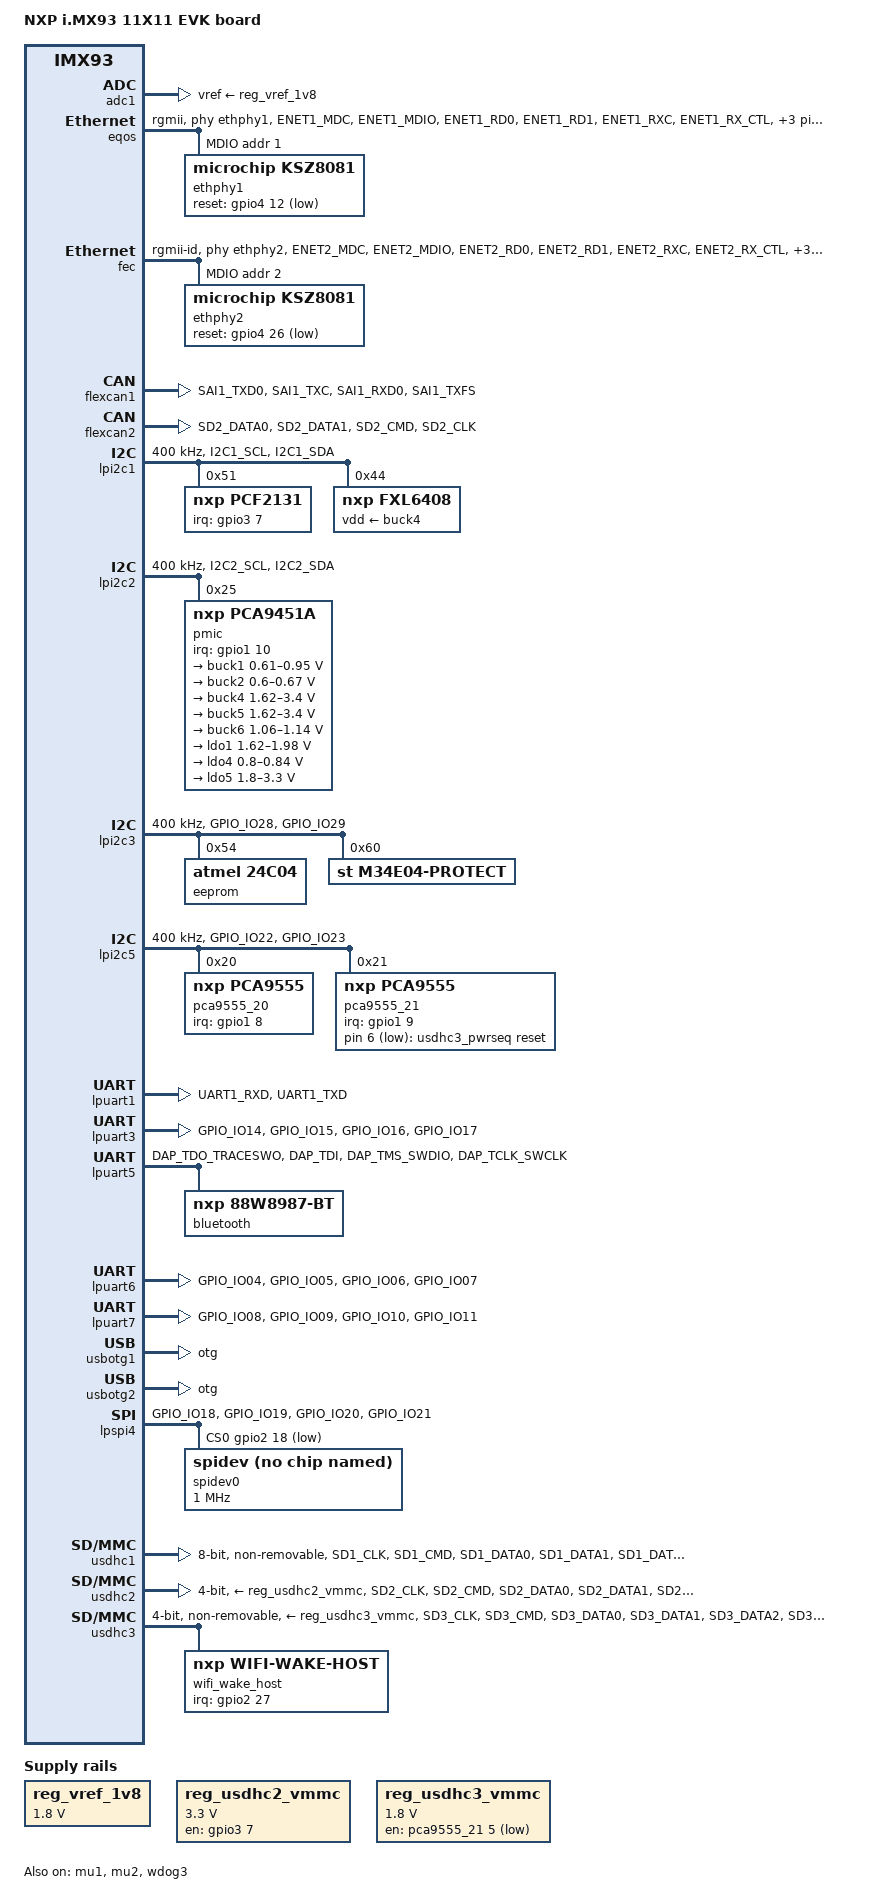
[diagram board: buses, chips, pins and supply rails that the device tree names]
// SPDX-License-Identifier: (GPL-2.0+ OR MIT)
/*
 * Copyright 2025 Future Electronics
 */

/dts-v1/;

#include <dt-bindings/usb/pd.h>
#include "imx93.dtsi"

/ {
	model = "NXP i.MX93 11X11 EVK board";
	compatible = "fsl,imx93-11x11-evk", "fsl,imx93";

	chosen {
		stdout-path = &lpuart1;
	};

	reserved-memory {
		#address-cells = <2>;
		#size-cells = <2>;
		ranges;

		linux,cma {
			compatible = "shared-dma-pool";
			reusable;
			alloc-ranges = <0 0x80000000 0 0x40000000>;
			size = <0 0x10000000>;
			linux,cma-default;
		};

		ethosu_mem: ethosu_region@C0000000 {
			compatible = "shared-dma-pool";
			reusable;
			reg = <0x0 0xC0000000 0x0 0x10000000>;
		};		

		vdev0vring0: vdev0vring0@a4000000 {
			reg = <0 0xa4000000 0 0x8000>;
			no-map;
		};

		vdev0vring1: vdev0vring1@a4008000 {
			reg = <0 0xa4008000 0 0x8000>;
			no-map;
		};

		vdev1vring0: vdev1vring0@a4010000 {
			reg = <0 0xa4010000 0 0x8000>;
			no-map;
		};

		vdev1vring1: vdev1vring1@a4018000 {
			reg = <0 0xa4018000 0 0x8000>;
			no-map;
		};

		rsc_table: rsc-table@2021e000 {
			reg = <0 0x2021e000 0 0x1000>;
			no-map;
		};

		vdevbuffer: vdevbuffer@a4020000 {
			compatible = "shared-dma-pool";
			reg = <0 0xa4020000 0 0x100000>;
			no-map;
		};

	};

	reg_vref_1v8: regulator-adc-vref {
		compatible = "regulator-fixed";
		regulator-name = "vref_1v8";
		regulator-min-microvolt = <1800000>;
		regulator-max-microvolt = <1800000>;
	};

	reg_usdhc2_vmmc: regulator-usdhc2 {
		compatible = "regulator-fixed";
		pinctrl-names = "default";
		pinctrl-0 = <&pinctrl_reg_usdhc2_vmmc>;
		regulator-name = "VSD_3V3";
		regulator-min-microvolt = <3300000>;
		regulator-max-microvolt = <3300000>;
		gpio = <&gpio3 7 GPIO_ACTIVE_HIGH>;
		off-on-delay-us = <12000>;
		enable-active-high;
	};

	reg_usdhc3_vmmc: regulator-usdhc3 {
		compatible = "regulator-fixed";
		regulator-name = "WLAN_EN";
		regulator-min-microvolt = <1800000>;
		regulator-max-microvolt = <1800000>;
		//gpio = <&gpio2 13 GPIO_ACTIVE_LOW>;				//CPU(GPIO2_13) = WF_nPD_1V8
		gpio = <&pca9555_21 5 GPIO_ACTIVE_LOW>;			//IO_Exp(P0_5) = WF_nEN_1V8
		enable-active-low;
	};

	usdhc3_pwrseq: usdhc3_pwrseq {
		compatible = "mmc-pwrseq-simple";
		reset-gpios = <&pca9555_21 6 GPIO_ACTIVE_LOW>;		//IO_Exp(P0_6) = WF_nRST_1V8
	};

	cm33: remoteproc-cm33 {
		compatible = "fsl,imx93-cm33";
		clocks = <&clk IMX93_CLK_CM33_GATE>;
		status = "disabled";
	};

	ethosu {
		compatible = "arm,ethosu";							// Arm Ethos-U NPU Linked to Cortex-M33
		fsl,cm33-proc = <&cm33>;
		memory-region = <&ethosu_mem>;
		power-domains = <&mlmix>;
	};

	backlight_lvds: backlight-lvds {
		compatible = "pwm-backlight";
		pwms = <&fxl6408 0 100000 0>;
		brightness-levels = <0 100>;
		num-interpolated-steps = <100>;
		default-brightness-level = <100>;
		enable-gpios = <&fxl6408 5 GPIO_ACTIVE_HIGH>;
		status = "disabled";
	};
};

&adc1 {
	vref-supply = <&reg_vref_1v8>;
	status = "okay";
};

&cm33 {
	mbox-names = "tx", "rx", "rxdb";
	mboxes = <&mu1 0 1>,
		 <&mu1 1 1>,
		 <&mu1 3 1>;
	memory-region = <&vdevbuffer>, <&vdev0vring0>, <&vdev0vring1>,
			<&vdev1vring0>, <&vdev1vring1>, <&rsc_table>;
	status = "okay";
};

&mu1 {
	status = "okay";
};

&mu2 {
	status = "okay";
};

&eqos {
	pinctrl-names = "default", "sleep";
	pinctrl-0 = <&pinctrl_eqos>;
	pinctrl-1 = <&pinctrl_eqos_sleep>;
	phy-mode = "rgmii";
	phy-handle = <&ethphy1>;
	status = "okay";
	mdio {
		compatible = "snps,dwmac-mdio";
		#address-cells = <1>;
		#size-cells = <0>;
		/*clock-frequency = <5000000>;						No need for 'clock-frequency'; PHY provides 50 MHz REF_CLK to SoC via RMII*/
		ethphy1: ethernet-phy@1 {
			compatible = "microchip,ksz8081";
			reg = <1>;										//Strapping 15 --> PHYAD[0] pull-down
			reset-gpios = <&gpio4 12 GPIO_ACTIVE_LOW>;		//Reset controlled by SoC GPIO4_IO12
			reset-assert-us = <10000>;
			reset-deassert-us = <80000>;
		};
	};
};

&fec {
	pinctrl-names = "default", "sleep";
	pinctrl-0 = <&pinctrl_fec>;
	pinctrl-1 = <&pinctrl_fec_sleep>;
	phy-mode = "rgmii-id";
	phy-handle = <&ethphy2>;
	fsl,magic-packet;
	status = "okay";
	mdio {
		#address-cells = <1>;
		#size-cells = <0>;
		/*clock-frequency = <5000000>;						// No need for 'clock-frequency'; PHY provides 50 MHz REF_CLK to SoC via RMII*/
		ethphy2: ethernet-phy@2 {
		compatible = "microchip,ksz8081";
			reg = <2>;										//Strapping 15 --> PHYAD[0] pull-up
			reset-gpios = <&gpio4 26 GPIO_ACTIVE_LOW>;		//Reset controlled by SoC GPIO4_IO26
			reset-assert-us = <10000>;
			reset-deassert-us = <80000>;
		};
	};
};

&flexcan1 {
	pinctrl-names = "default";
	pinctrl-0 = <&pinctrl_flexcan1>;
	status = "okay";
	/*standby-gpios = <&gpio1 14 GPIO_ACTIVE_HIGH>;		CAN1_STBY
	eol-gpios = <&gpio1 11 GPIO_ACTIVE_HIGH>;			CAN1_EOL*/
};

&flexcan2 {
	pinctrl-names = "default";
	pinctrl-0 = <&pinctrl_flexcan2>;
	status = "okay";
	/*standby-gpios = <&gpio3 2 GPIO_ACTIVE_HIGH>;		CAN2_STBY
	eol-gpios = <&gpio3 1 GPIO_ACTIVE_HIGH>;			CAN2_EOL*/
};

&lpi2c1 {
	clock-frequency = <400000>;
	pinctrl-names = "default";
	pinctrl-0 = <&pinctrl_lpi2c1>;
	status = "okay";

	/*RTC --> PCF2131TFY*/
	pcf2131: pcf2131@51 {
		compatible = "nxp,pcf2131";
		reg = <0x51>;							//I2C Address (7bit) 0x51 expander --> 0xa3 (8bit)
		status = "okay";
		interrupt-parent = <&gpio3>;
		interrupts = <7 IRQ_TYPE_EDGE_FALLING>;	//GPIO3_IO07 --> CP
	};

	/*Io Expander --> FXL6408UMX*/
	fxl6408: io-expander@44 {
		compatible = "nxp,fxl6408";
		reg = <0x44>;							//I2C Address (7bit) 0x44 expander
		vdd-supply = <&buck4>;					//buck4 --> 3v3
		#gpio-cells = <2>;
		gpio-controller;
		ngpios = <8>;							//PCA9555 have 8 GPIOs
		gpio-reserved-ranges = <5 1>;			//Reserv DSP_CTRL_3V3 always
		#pwm-cells = <3>;
		gpio-line-names = "LED1_nEN", "LED2_nEN", "LED3_nEN", "LED4_nEN",
			"DSP_EN_3V3", "DSP_CTRL_3V3", "NC", "NC";
	};
};

&lpi2c2 {
	clock-frequency = <400000>;
	pinctrl-names = "default";
	pinctrl-0 = <&pinctrl_lpi2c2>;
	status = "okay";

	/*PMIC --> PCA9451AHNY*/
	pmic@25 {
		compatible = "nxp,pca9451a";
		reg = <0x25>;
		pinctrl-names = "default";
		pinctrl-0 = <&pinctrl_pmic>;
		interrupt-parent = <&gpio1>;
		interrupts = <10 IRQ_TYPE_EDGE_FALLING>;	//PMIC INT on GPIO1_IO10
		regulators {
			buck1: BUCK1 {
				regulator-name = "BUCK1";
				regulator-min-microvolt = <610000>;
				regulator-max-microvolt = <950000>;
				regulator-boot-on;
				regulator-always-on;
				regulator-ramp-delay = <3125>;
			};

			buck2: BUCK2 {
				regulator-name = "BUCK2";
				regulator-min-microvolt = <600000>;
				regulator-max-microvolt = <670000>;
				regulator-boot-on;
				regulator-always-on;
				regulator-ramp-delay = <3125>;
			};

			buck4: BUCK4{
				regulator-name = "BUCK4";
				regulator-min-microvolt = <1620000>;
				regulator-max-microvolt = <3400000>;
				regulator-boot-on;
				regulator-always-on;
			};

			buck5: BUCK5{
				regulator-name = "BUCK5";
				regulator-min-microvolt = <1620000>;
				regulator-max-microvolt = <3400000>;
				regulator-boot-on;
				regulator-always-on;
			};

			buck6: BUCK6 {
				regulator-name = "BUCK6";
				regulator-min-microvolt = <1060000>;
				regulator-max-microvolt = <1140000>;
				regulator-boot-on;
				regulator-always-on;
			};

			ldo1: LDO1 {
				regulator-name = "LDO1";
				regulator-min-microvolt = <1620000>;
				regulator-max-microvolt = <1980000>;
				regulator-boot-on;
				regulator-always-on;
			};

			ldo4: LDO4 {
				regulator-name = "LDO4";
				regulator-min-microvolt = <800000>;
				regulator-max-microvolt = <840000>;
				regulator-boot-on;
				regulator-always-on;
			};

			ldo5: LDO5 {
				regulator-name = "LDO5";
				regulator-min-microvolt = <1800000>;
				regulator-max-microvolt = <3300000>;
				regulator-boot-on;
				regulator-always-on;
			};
		};
	};
};

&lpi2c3 {
	clock-frequency = <400000>;
	pinctrl-names = "default";
	pinctrl-0 = <&pinctrl_lpi2c3>;
	status = "okay";

	/*Eeprom --> M34E04-FMC9TG*/
	eeprom@54 {
		compatible = "atmel,24c04", "st,m34e04";
		reg = <0x54>;		//I2C Address --> 0xA8 (8 bits) = 0x54 (7 bits)
		pagesize = <16>;
		size = <512>;
	};

	m34e04-protect@60 {
		compatible = "st,m34e04-protect";
		reg = <0x60>;		// Protection --> 0x60 (7 bits)
	};
};

&lpi2c5 {
	clock-frequency = <400000>;
	pinctrl-names = "default";
	pinctrl-0 = <&pinctrl_lpi2c5>;
	status = "okay";

	/*Io Expander --> PCA9555AHF,128*/
	pca9555_20: gpio@20 {
		compatible = "nxp,pca9555";
		reg = <0x20>;							//I2C Address (7bit) 0x20 expander
		pinctrl-names = "default";
		pinctrl-0 = <&pinctrl_pca9555_20>;
		gpio-controller;
		#gpio-cells = <2>;
		interrupt-parent = <&gpio1>;
		interrupts = <8 IRQ_TYPE_LEVEL_LOW>;	//Io Expander INT on GPIO1_IO08
		gpio-line-names = "CONA_EN", "CONB_EN",
			"DIGITAL_IN0", "DIGITAL_IN1","DIGITAL_IN2", "DIGITAL_IN3",
			"OUT0_EN", "OUT1_EN", "OUT2_EN", "OUT3_EN";
	};

	/*Io Expander --> PCA9555AHF,128*/
	pca9555_21: gpio@21 {
		compatible = "nxp,pca9555";
		reg = <0x21>;							//I2C Address (7bit) 0x21 expander
		pinctrl-names = "default";
		pinctrl-0 = <&pinctrl_pca9555_21>;
		#gpio-cells = <2>;
		gpio-controller;
		interrupt-parent = <&gpio1>;
		interrupts = <9 IRQ_TYPE_LEVEL_LOW>;	//Io Expander INT on GPIO1_IO09
		gpio-line-names = "EXP_IO1", "EXP_IO2",
			"EXP_IO3", "EXP_IO4", "EXP_PWR_EN",
			"WF_nEN_1V8", "WF_nRST_1V8", "BT_nRST_1V8",
			"GNSS_LNA_EN1", "LTE_ON_OFF_1V8",
			"NC", "NC", "NC", "NC", "NC", "NC";
	};
};

&lpuart1 {
	/* Console */
	pinctrl-names = "default";
	pinctrl-0 = <&pinctrl_uart1>;
	status = "okay";
};

&lpuart3 {
	/* LTE */
	pinctrl-0 = <&pinctrl_uart3>;
	pinctrl-names = "default";
	status = "okay";
};

&lpuart5 {
	/* BT */
	pinctrl-names = "default";
	pinctrl-0 = <&pinctrl_uart5>;
	status = "okay";
	bluetooth {
		compatible = "nxp,88w8987-bt";
	};
};

&lpuart6 {
	/* RS232/RS485 */
	pinctrl-0 = <&pinctrl_uart6>;
	pinctrl-names = "default";
	status = "okay";
	/*RS485*/
	fsl,uart-has-rtscts;
	rs485-rts-gpio = <&gpio3 5 GPIO_ACTIVE_HIGH>;
	rs485-rts-active-high;
	rs485-delay = <1 1>;
};

&lpuart7 {
	/* Connector */
	pinctrl-0 = <&pinctrl_uart7>;
	pinctrl-names = "default";
	status = "okay";
};

&usbotg1 {
	dr_mode = "otg";
	hnp-disable;
	srp-disable;
	adp-disable;
	/*usb-role-switch;		No Type-C controller used*/
	disable-over-current;
	samsung,picophy-pre-emp-curr-control = <3>;
	samsung,picophy-dc-vol-level-adjust = <7>;
	status = "okay";

};

&usbotg2 {
	dr_mode = "otg";
	hnp-disable;
	srp-disable;
	adp-disable;
	/*usb-role-switch;		No Type-C controller used*/
	disable-over-current;
	samsung,picophy-pre-emp-curr-control = <3>;
	samsung,picophy-dc-vol-level-adjust = <7>;
	status = "okay";
};

&lpspi4 {
	fsl,spi-num-chipselects = <1>;
	pinctrl-names = "default", "sleep";
	pinctrl-0 = <&pinctrl_lpspi4>;
	cs-gpios = <&gpio2 18 GPIO_ACTIVE_LOW>;
	status = "okay";
	spidev0: spi@0 {
		reg = <0>;								// CS0
		compatible = "spidev";					// Generic driver for testing
		spi-max-frequency = <1000000>;			// 1 MHz, adjust according to peripheral
	};
};

&usdhc1 {
	pinctrl-names = "default", "state_100mhz", "state_200mhz";
	pinctrl-0 = <&pinctrl_usdhc1>;
	pinctrl-1 = <&pinctrl_usdhc1_100mhz>;
	pinctrl-2 = <&pinctrl_usdhc1_200mhz>;
	bus-width = <8>;
	non-removable;
	status = "okay";
};

&usdhc2 {
	pinctrl-names = "default", "state_100mhz", "state_200mhz", "sleep";
	pinctrl-0 = <&pinctrl_usdhc2>, <&pinctrl_usdhc2_gpio>;
	pinctrl-1 = <&pinctrl_usdhc2_100mhz>, <&pinctrl_usdhc2_gpio>;
	pinctrl-2 = <&pinctrl_usdhc2_200mhz>, <&pinctrl_usdhc2_gpio>;
	pinctrl-3 = <&pinctrl_usdhc2_sleep>, <&pinctrl_usdhc2_gpio_sleep>;
	cd-gpios = <&gpio3 00 GPIO_ACTIVE_LOW>;
	vmmc-supply = <&reg_usdhc2_vmmc>;
	bus-width = <4>;
	status = "okay";
	no-mmc;
};

&usdhc3 {
	pinctrl-names = "default", "state_100mhz", "state_200mhz", "sleep";
	pinctrl-0 = <&pinctrl_usdhc3>, <&pinctrl_usdhc3_wlan>;
	pinctrl-1 = <&pinctrl_usdhc3_100mhz>, <&pinctrl_usdhc3_wlan>;
	pinctrl-2 = <&pinctrl_usdhc3_200mhz>, <&pinctrl_usdhc3_wlan>;
	pinctrl-3 = <&pinctrl_usdhc3_sleep>, <&pinctrl_usdhc3_wlan>;
	mmc-pwrseq = <&usdhc3_pwrseq>;
	vmmc-supply = <&reg_usdhc3_vmmc>;
	bus-width = <4>;
	keep-power-in-suspend;
	non-removable;
	wakeup-source;
	status = "okay";
	/*wifi-dev-wake-gpios= <&gpio2 25 GPIO_ACTIVE_HIGH>;		CPU(GPIO2_25) = WF_DEV_WAKE_1V8*/
	wifi_wake_host {
		compatible = "nxp,wifi-wake-host";
		interrupt-parent = <&gpio2>;
		interrupts = <27 IRQ_TYPE_LEVEL_LOW>;				//CPU(GPIO2_27) = WF_WAKE_HOST_1V8
		interrupt-names = "host-wake";
	};
};

&wdog3 {
	status = "okay";
};

&iomuxc {
	pinctrl_eqos: eqosgrp {
		fsl,pins = <
			MX93_PAD_ENET1_MDC__ENET_QOS_MDC			0x57e
			MX93_PAD_ENET1_MDIO__ENET_QOS_MDIO			0x57e
			MX93_PAD_ENET1_RD0__ENET_QOS_RGMII_RD0			0x57e
			MX93_PAD_ENET1_RD1__ENET_QOS_RGMII_RD1			0x57e
			MX93_PAD_ENET1_RXC__CCM_ENET_QOS_CLOCK_GENERATE_RX_CLK	0x5fe
			MX93_PAD_ENET1_RX_CTL__ENET_QOS_RGMII_RX_CTL		0x57e
			MX93_PAD_ENET1_TD0__ENET_QOS_RGMII_TD0			0x57e
			MX93_PAD_ENET1_TD1__ENET_QOS_RGMII_TD1			0x57e
			MX93_PAD_ENET1_TX_CTL__ENET_QOS_RGMII_TX_CTL		0x57e
		>;
	};

	pinctrl_eqos_sleep: eqossleepgrp {
		fsl,pins = <
			MX93_PAD_ENET1_MDC__GPIO4_IO00				0x31e
			MX93_PAD_ENET1_MDIO__GPIO4_IO01				0x31e
			MX93_PAD_ENET1_RD0__GPIO4_IO10                          0x31e
			MX93_PAD_ENET1_RD1__GPIO4_IO11				0x31e
			MX93_PAD_ENET1_RXC__GPIO4_IO09                          0x31e
			MX93_PAD_ENET1_RX_CTL__GPIO4_IO08			0x31e
			MX93_PAD_ENET1_TD0__GPIO4_IO05                          0x31e
			MX93_PAD_ENET1_TD1__GPIO4_IO04                          0x31e
			MX93_PAD_ENET1_TX_CTL__GPIO4_IO06                       0x31e
		>;
	};

	pinctrl_fec: fecgrp {
		fsl,pins = <
			MX93_PAD_ENET2_MDC__ENET1_MDC			0x57e
			MX93_PAD_ENET2_MDIO__ENET1_MDIO			0x57e
			MX93_PAD_ENET2_RD0__ENET1_RGMII_RD0		0x57e
			MX93_PAD_ENET2_RD1__ENET1_RGMII_RD1		0x57e
			MX93_PAD_ENET2_RXC__ENET1_RGMII_RXC		0x5fe
			MX93_PAD_ENET2_RX_CTL__ENET1_RGMII_RX_CTL	0x57e
			MX93_PAD_ENET2_TD0__ENET1_RGMII_TD0		0x57e
			MX93_PAD_ENET2_TD1__ENET1_RGMII_TD1		0x57e
			MX93_PAD_ENET2_TX_CTL__ENET1_RGMII_TX_CTL	0x57e
		>;
	};

	pinctrl_fec_sleep: fecsleepgrp {
		fsl,pins = <
			MX93_PAD_ENET2_MDC__GPIO4_IO14			0x51e
			MX93_PAD_ENET2_MDIO__GPIO4_IO15			0x51e
			MX93_PAD_ENET2_RD0__GPIO4_IO24			0x51e
			MX93_PAD_ENET2_RD1__GPIO4_IO25			0x51e
			MX93_PAD_ENET2_RXC__GPIO4_IO23                  0x51e
			MX93_PAD_ENET2_RX_CTL__GPIO4_IO22		0x51e
			MX93_PAD_ENET2_TD0__GPIO4_IO19			0x51e
			MX93_PAD_ENET2_TD1__GPIO4_IO18			0x51e
			MX93_PAD_ENET2_TX_CTL__GPIO4_IO20               0x51e
		>;
	};

	pinctrl_flexcan1: flexcan1grp {
		fsl,pins = <
			MX93_PAD_SAI1_TXD0__CAN1_TX				0x139e
			MX93_PAD_SAI1_TXC__CAN1_RX				0x139e
			MX93_PAD_SAI1_RXD0__GPIO1_IO14			0x139e		//CAN1_STBY
			MX93_PAD_SAI1_TXFS__GPIO1_IO11			0x139e		//CAN1_EOL
		>;
	};

	pinctrl_flexcan2: flexcan2grp {
		fsl,pins = <
			MX93_PAD_SD2_DATA0__CAN2_TX				0x139e
			MX93_PAD_SD2_DATA1__CAN2_RX				0x139e
			MX93_PAD_SD2_CMD__GPIO3_IO02			0x139e		//CAN2_STBY
			MX93_PAD_SD2_CLK__GPIO3_IO01			0x139e		//CAN2_EOL
		>;
	};

	pinctrl_uart1: uart1grp {
		fsl,pins = <
			MX93_PAD_UART1_RXD__LPUART1_RX			0x31e
			MX93_PAD_UART1_TXD__LPUART1_TX			0x31e
		>;
	};

	pinctrl_uart3: uart3_pins {
		fsl,pins = <
			MX93_PAD_GPIO_IO14__LPUART3_TX			0x31e
			MX93_PAD_GPIO_IO15__LPUART3_RX			0x31e
			MX93_PAD_GPIO_IO16__LPUART3_CTS_B		0x31e
			MX93_PAD_GPIO_IO17__LPUART3_RTS_B		0x31e
		>;
	};

	pinctrl_uart5: uart5grp {
		fsl,pins = <
			MX93_PAD_DAP_TDO_TRACESWO__LPUART5_TX		0x31e
			MX93_PAD_DAP_TDI__LPUART5_RX				0x31e
			MX93_PAD_DAP_TMS_SWDIO__LPUART5_RTS_B		0x31e
			MX93_PAD_DAP_TCLK_SWCLK__LPUART5_CTS_B		0x31e
		>;
	};

	pinctrl_uart6: uart6grp {
		fsl,pins = <
			MX93_PAD_GPIO_IO04__LPUART6_TX			0x31e
			MX93_PAD_GPIO_IO05__LPUART6_RX			0x31e
			MX93_PAD_GPIO_IO06__LPUART6_CTS_B		0x31e
			MX93_PAD_GPIO_IO07__LPUART6_RTS_B		0x31e
		>;
	};

	pinctrl_uart7: uart7grp {
		fsl,pins = <
			MX93_PAD_GPIO_IO08__LPUART7_TX			0x31e
			MX93_PAD_GPIO_IO09__LPUART7_RX			0x31e
			MX93_PAD_GPIO_IO10__LPUART7_CTS_B		0x31e
			MX93_PAD_GPIO_IO11__LPUART7_RTS_B		0x31e
		>;
	};

	pinctrl_lpi2c1: lpi2c1grp {
		fsl,pins = <
			MX93_PAD_I2C1_SCL__LPI2C1_SCL			0x40000b9e
			MX93_PAD_I2C1_SDA__LPI2C1_SDA			0x40000b9e
		>;
	};

	pinctrl_lpi2c2: lpi2c2grp {
		fsl,pins = <
			MX93_PAD_I2C2_SCL__LPI2C2_SCL			0x40000b9e
			MX93_PAD_I2C2_SDA__LPI2C2_SDA			0x40000b9e
		>;
	};

	pinctrl_pmic: pmic1grp {
		fsl,pins = <
			MX93_PAD_PDM_BIT_STREAM1__GPIO1_IO10	0x31e
		>;
	};

	pinctrl_lpi2c3: lpi2c3grp {
		fsl,pins = <
			MX93_PAD_GPIO_IO28__LPI2C3_SDA			0x40000b9e
			MX93_PAD_GPIO_IO29__LPI2C3_SCL			0x40000b9e
		>;
	};

	pinctrl_lpi2c5: lpi2c5grp {
		fsl,pins = <
			MX93_PAD_GPIO_IO22__LPI2C5_SDA			0x40000b9e
			MX93_PAD_GPIO_IO23__LPI2C5_SCL			0x40000b9e
		>;
	};

	pinctrl_pca9555_20: pca9555_20grp {
		fsl,pins = <
			MX93_PAD_PDM_CLK__GPIO1_IO08			0x31e
		>;
	};

	pinctrl_pca9555_21: pca9555_21grp {
		fsl,pins = <
			MX93_PAD_PDM_BIT_STREAM0__GPIO1_IO09	0x31e
		>;
	};

	pinctrl_lpspi4: lpspi4grp {
		fsl,pins = <
			MX93_PAD_GPIO_IO18__LPSPI4_PCS0			0x43		//CS0 (chip select)
			MX93_PAD_GPIO_IO19__LPSPI4_SIN			0x43
			MX93_PAD_GPIO_IO20__LPSPI4_SOUT			0x43
			MX93_PAD_GPIO_IO21__LPSPI4_SCK			0x43
		>;
	};

	pinctrl_usdhc1: usdhc1grp {
		fsl,pins = <
			MX93_PAD_SD1_CLK__USDHC1_CLK		0x1582
			MX93_PAD_SD1_CMD__USDHC1_CMD		0x40001382
			MX93_PAD_SD1_DATA0__USDHC1_DATA0	0x40001382
			MX93_PAD_SD1_DATA1__USDHC1_DATA1	0x40001382
			MX93_PAD_SD1_DATA2__USDHC1_DATA2	0x40001382
			MX93_PAD_SD1_DATA3__USDHC1_DATA3	0x40001382
			MX93_PAD_SD1_DATA4__USDHC1_DATA4	0x40001382
			MX93_PAD_SD1_DATA5__USDHC1_DATA5	0x40001382
			MX93_PAD_SD1_DATA6__USDHC1_DATA6	0x40001382
			MX93_PAD_SD1_DATA7__USDHC1_DATA7	0x40001382
			MX93_PAD_SD1_STROBE__USDHC1_STROBE	0x1582
		>;
	};

	pinctrl_usdhc1_100mhz: usdhc1-100mhzgrp {
		fsl,pins = <
			MX93_PAD_SD1_CLK__USDHC1_CLK		0x158e
			MX93_PAD_SD1_CMD__USDHC1_CMD		0x4000138e
			MX93_PAD_SD1_DATA0__USDHC1_DATA0	0x4000138e
			MX93_PAD_SD1_DATA1__USDHC1_DATA1	0x4000138e
			MX93_PAD_SD1_DATA2__USDHC1_DATA2	0x4000138e
			MX93_PAD_SD1_DATA3__USDHC1_DATA3	0x4000138e
			MX93_PAD_SD1_DATA4__USDHC1_DATA4	0x4000138e
			MX93_PAD_SD1_DATA5__USDHC1_DATA5	0x4000138e
			MX93_PAD_SD1_DATA6__USDHC1_DATA6	0x4000138e
			MX93_PAD_SD1_DATA7__USDHC1_DATA7	0x4000138e
			MX93_PAD_SD1_STROBE__USDHC1_STROBE	0x158e
		>;
	};

	pinctrl_usdhc1_200mhz: usdhc1-200mhzgrp {
		fsl,pins = <
			MX93_PAD_SD1_CLK__USDHC1_CLK		0x15fe
			MX93_PAD_SD1_CMD__USDHC1_CMD		0x400013fe
			MX93_PAD_SD1_DATA0__USDHC1_DATA0	0x400013fe
			MX93_PAD_SD1_DATA1__USDHC1_DATA1	0x400013fe
			MX93_PAD_SD1_DATA2__USDHC1_DATA2	0x400013fe
			MX93_PAD_SD1_DATA3__USDHC1_DATA3	0x400013fe
			MX93_PAD_SD1_DATA4__USDHC1_DATA4	0x400013fe
			MX93_PAD_SD1_DATA5__USDHC1_DATA5	0x400013fe
			MX93_PAD_SD1_DATA6__USDHC1_DATA6	0x400013fe
			MX93_PAD_SD1_DATA7__USDHC1_DATA7	0x400013fe
			MX93_PAD_SD1_STROBE__USDHC1_STROBE	0x15fe
		>;
	};

	pinctrl_reg_usdhc2_vmmc: regusdhc2vmmcgrp {
		fsl,pins = <
			MX93_PAD_SD2_RESET_B__GPIO3_IO07	0x31e
		>;
	};

	pinctrl_usdhc2_gpio: usdhc2gpiogrp {
		fsl,pins = <
			MX93_PAD_SD2_CD_B__GPIO3_IO00		0x31e		//0x31e GPIO config
		>;
	};

	pinctrl_usdhc2_gpio_sleep: usdhc2gpiosleepgrp {
		fsl,pins = <
			MX93_PAD_SD2_CD_B__GPIO3_IO00		0x51e		//0x51e Sleep config
		>;
	};

	pinctrl_usdhc2: usdhc2grp {
		fsl,pins = <
			MX93_PAD_SD2_CLK__USDHC2_CLK		0x1582
			MX93_PAD_SD2_CMD__USDHC2_CMD		0x40001382
			MX93_PAD_SD2_DATA0__USDHC2_DATA0	0x40001382
			MX93_PAD_SD2_DATA1__USDHC2_DATA1	0x40001382
			MX93_PAD_SD2_DATA2__USDHC2_DATA2	0x40001382
			MX93_PAD_SD2_DATA3__USDHC2_DATA3	0x40001382
			MX93_PAD_SD2_VSELECT__USDHC2_VSELECT	0x51e
		>;
	};

	pinctrl_usdhc2_100mhz: usdhc2-100mhzgrp {
		fsl,pins = <
			MX93_PAD_SD2_CLK__USDHC2_CLK		0x158e
			MX93_PAD_SD2_CMD__USDHC2_CMD		0x4000138e
			MX93_PAD_SD2_DATA0__USDHC2_DATA0	0x4000138e
			MX93_PAD_SD2_DATA1__USDHC2_DATA1	0x4000138e
			MX93_PAD_SD2_DATA2__USDHC2_DATA2	0x4000138e
			MX93_PAD_SD2_DATA3__USDHC2_DATA3	0x4000138e
			MX93_PAD_SD2_VSELECT__USDHC2_VSELECT	0x51e
		>;
	};

	pinctrl_usdhc2_200mhz: usdhc2-200mhzgrp {
		fsl,pins = <
			MX93_PAD_SD2_CLK__USDHC2_CLK		0x15fe
			MX93_PAD_SD2_CMD__USDHC2_CMD		0x400013fe
			MX93_PAD_SD2_DATA0__USDHC2_DATA0	0x400013fe
			MX93_PAD_SD2_DATA1__USDHC2_DATA1	0x400013fe
			MX93_PAD_SD2_DATA2__USDHC2_DATA2	0x400013fe
			MX93_PAD_SD2_DATA3__USDHC2_DATA3	0x400013fe
			MX93_PAD_SD2_VSELECT__USDHC2_VSELECT	0x51e
		>;
	};

	pinctrl_usdhc2_sleep: usdhc2sleepgrp {
		fsl,pins = <
			MX93_PAD_SD2_CLK__GPIO3_IO01            0x51e
			MX93_PAD_SD2_CMD__GPIO3_IO02		0x51e
			MX93_PAD_SD2_DATA0__GPIO3_IO03		0x51e
			MX93_PAD_SD2_DATA1__GPIO3_IO04		0x51e
			MX93_PAD_SD2_DATA2__GPIO3_IO05		0x51e
			MX93_PAD_SD2_DATA3__GPIO3_IO06		0x51e
			MX93_PAD_SD2_VSELECT__GPIO3_IO19	0x51e
		>;
	};

	pinctrl_usdhc3: usdhc3grp {
		fsl,pins = <
			MX93_PAD_SD3_CLK__USDHC3_CLK			0x1582
			MX93_PAD_SD3_CMD__USDHC3_CMD			0x40001382
			MX93_PAD_SD3_DATA0__USDHC3_DATA0		0x40001382
			MX93_PAD_SD3_DATA1__USDHC3_DATA1		0x40001382
			MX93_PAD_SD3_DATA2__USDHC3_DATA2		0x40001382
			MX93_PAD_SD3_DATA3__USDHC3_DATA3		0x40001382
		>;
	};

	pinctrl_usdhc3_wlan: usdhc3wlangrp {
		fsl,pins = <
			MX93_PAD_GPIO_IO27__GPIO2_IO27			0x31e
		>;
	};

	pinctrl_usdhc3_100mhz: usdhc3-100mhzgrp {
		fsl,pins = <
			MX93_PAD_SD3_CLK__USDHC3_CLK			0x15be
			MX93_PAD_SD3_CMD__USDHC3_CMD			0x400013be
			MX93_PAD_SD3_DATA0__USDHC3_DATA0		0x400013be
			MX93_PAD_SD3_DATA1__USDHC3_DATA1		0x400013be
			MX93_PAD_SD3_DATA2__USDHC3_DATA2		0x400013be
			MX93_PAD_SD3_DATA3__USDHC3_DATA3		0x400013be
		>;
	};

	pinctrl_usdhc3_200mhz: usdhc3-200mhzgrp {
		fsl,pins = <
			MX93_PAD_SD3_CLK__USDHC3_CLK			0x15fe
			MX93_PAD_SD3_CMD__USDHC3_CMD			0x400013fe
			MX93_PAD_SD3_DATA0__USDHC3_DATA0		0x400013fe
			MX93_PAD_SD3_DATA1__USDHC3_DATA1		0x400013fe
			MX93_PAD_SD3_DATA2__USDHC3_DATA2		0x400013fe
			MX93_PAD_SD3_DATA3__USDHC3_DATA3		0x400013fe
		>;
	};

	pinctrl_usdhc3_sleep: usdhc3grpsleep {
		fsl,pins = <
			MX93_PAD_SD3_CLK__GPIO3_IO20			0x31e
			MX93_PAD_SD3_CMD__GPIO3_IO21			0x31e
			MX93_PAD_SD3_DATA0__GPIO3_IO22			0x31e
			MX93_PAD_SD3_DATA1__GPIO3_IO23			0x31e
			MX93_PAD_SD3_DATA2__GPIO3_IO24			0x31e
			MX93_PAD_SD3_DATA3__GPIO3_IO25			0x31e
		>;
	};

};
